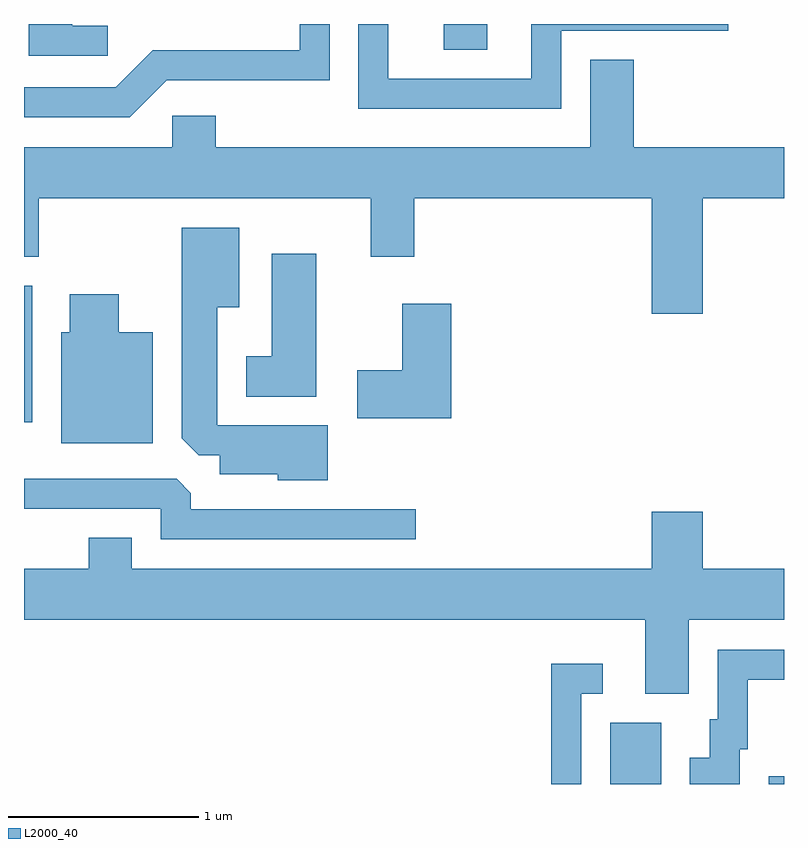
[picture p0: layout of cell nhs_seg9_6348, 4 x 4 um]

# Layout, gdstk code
import gdstk
lib = gdstk.Library(unit=1e-6, precision=1e-09)
def R(c, l, rs):  # rectangles x0, y0, x1, y1
    for r in rs: c.add(gdstk.rectangle(r[:2], r[2:], *l))
def P(c, l, *ps):  # polygons
    for p in ps: c.add(gdstk.Polygon(p, *l))
L2000_40 = (2000, 40)

nhs_seg9_6348 = lib.new_cell('nhs_seg9_6348')
R(nhs_seg9_6348, L2000_40, [(374.696,2066.432,374.964,2066.754), (375.531,2066.432,375.611,2066.472), (371.611,2068.336,371.654,2069.054), (373.821,2070.296,374.049,2070.432)])
P(nhs_seg9_6348, L2000_40, [(372.053,2070.424),(371.864,2070.424),(371.864,2070.432),(371.636,2070.432),(371.636,2070.266),(372.053,2070.266)],
  [(372.362,2070.136),(373.219,2070.136),(373.219,2070.432),(373.061,2070.432),(373.061,2070.294),(372.289,2070.294),(372.094,2070.099),(371.611,2070.099),(371.611,2069.941),(372.167,2069.941)],
  [(374.439,2070.396),(375.318,2070.396),(375.318,2070.432),(374.281,2070.432),(374.281,2070.144),(373.529,2070.144),(373.529,2070.432),(373.371,2070.432),(373.371,2069.986),(374.439,2069.986)],
  [(375.184,2069.516),(375.611,2069.516),(375.611,2069.784),(374.819,2069.784),(374.819,2070.244),(374.591,2070.244),(374.591,2069.784),(372.619,2069.784),(372.619,2069.949),(372.391,2069.949),(372.391,2069.784),(371.611,2069.784),(371.611,2069.206),(371.689,2069.206),(371.689,2069.516),(373.436,2069.516),(373.436,2069.206),(373.664,2069.206),(373.664,2069.516),(374.916,2069.516),(374.916,2068.906),(375.184,2068.906)],
  [(373.209,2068.319),(372.629,2068.319),(372.629,2068.941),(372.744,2068.941),(372.744,2069.359),(372.441,2069.359),(372.441,2068.251),(372.532,2068.161),(372.641,2068.161),(372.641,2068.061),(372.946,2068.061),(372.946,2068.031),(373.209,2068.031)],
  [(373.149,2069.224),(372.916,2069.224),(372.916,2068.684),(372.781,2068.684),(372.781,2068.471),(373.149,2068.471)],
  [(372.289,2068.809),(372.109,2068.809),(372.109,2069.009),(371.851,2069.009),(371.851,2068.809),(371.806,2068.809),(371.806,2068.226),(372.289,2068.226)],
  [(373.859,2068.959),(373.601,2068.959),(373.601,2068.609),(373.366,2068.609),(373.366,2068.356),(373.859,2068.356)],
  [(373.673,2067.879),(372.489,2067.879),(372.489,2067.963),(372.414,2068.039),(371.611,2068.039),(371.611,2067.881),(372.331,2067.881),(372.331,2067.721),(373.673,2067.721)],
  [(375.109,2067.296),(375.611,2067.296),(375.611,2067.564),(375.184,2067.564),(375.184,2067.864),(374.916,2067.864),(374.916,2067.564),(372.179,2067.564),(372.179,2067.729),(371.951,2067.729),(371.951,2067.564),(371.611,2067.564),(371.611,2067.296),(374.881,2067.296),(374.881,2066.906),(375.109,2066.906)],
  [(375.379,2066.616),(375.419,2066.616),(375.419,2066.981),(375.611,2066.981),(375.611,2067.139),(375.261,2067.139),(375.261,2066.774),(375.221,2066.774),(375.221,2066.569),(375.116,2066.569),(375.116,2066.432),(375.379,2066.432)],
  [(374.544,2066.906),(374.658,2066.906),(374.658,2067.064),(374.386,2067.064),(374.386,2066.432),(374.544,2066.432)])

lib.write_gds('nhs_seg9_6348.gds')
